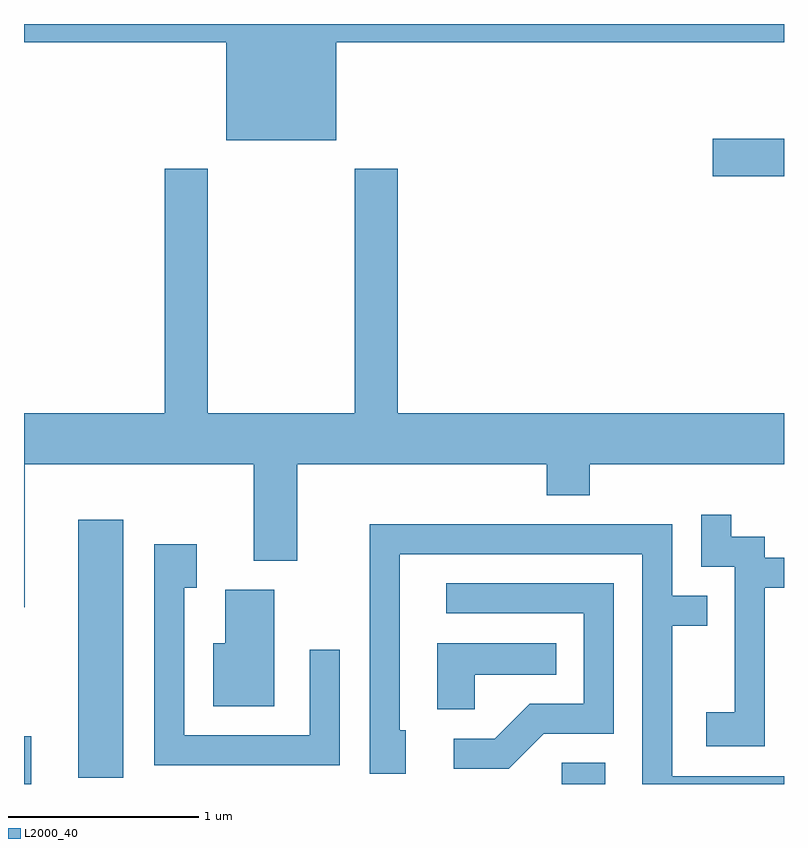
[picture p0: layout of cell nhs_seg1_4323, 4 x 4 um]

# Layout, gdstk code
import gdstk
lib = gdstk.Library(unit=1e-6, precision=1e-09)
def R(c, l, rs):  # rectangles x0, y0, x1, y1
    for r in rs: c.add(gdstk.rectangle(r[:2], r[2:], *l))
def P(c, l, *ps):  # polygons
    for p in ps: c.add(gdstk.Polygon(p, *l))
L2000_40 = (2000, 40)

nhs_seg1_4323 = lib.new_cell('nhs_seg1_4323')
R(nhs_seg1_4323, L2000_40, [(315.611,855.712,315.649,855.964), (318.441,855.712,318.669,855.824), (315.896,855.746,316.134,857.104), (319.236,858.911,319.611,859.109)])
P(nhs_seg1_4323, L2000_40, [(315.611,859.616),(316.676,859.616),(316.676,859.101),(317.254,859.101),(317.254,859.616),(319.611,859.616),(319.611,859.712),(315.611,859.712)],
  [(315.614,857.396),(316.821,857.396),(316.821,856.886),(317.049,856.886),(317.049,857.396),(318.361,857.396),(318.361,857.231),(318.589,857.231),(318.589,857.396),(319.611,857.396),(319.611,857.664),(317.579,857.664),(317.579,858.949),(317.351,858.949),(317.351,857.664),(316.579,857.664),(316.579,858.949),(316.351,858.949),(316.351,857.664),(315.611,857.664),(315.611,856.643),(315.614,856.643)],
  [(319.509,856.746),(319.611,856.746),(319.611,856.904),(319.509,856.904),(319.509,857.014),(319.334,857.014),(319.334,857.128),(319.176,857.128),(319.176,856.856),(319.351,856.856),(319.351,856.089),(319.201,856.089),(319.201,855.911),(319.509,855.911)],
  [(319.611,855.754),(319.024,855.754),(319.024,856.546),(319.208,856.546),(319.208,856.704),(319.024,856.704),(319.024,857.079),(317.431,857.079),(317.431,855.766),(317.619,855.766),(317.619,855.994),(317.589,855.994),(317.589,856.921),(318.866,856.921),(318.866,855.712),(319.611,855.712)],
  [(317.274,856.418),(317.116,856.418),(317.116,855.969),(316.454,855.969),(316.454,856.746),(316.519,856.746),(316.519,856.974),(316.296,856.974),(316.296,855.811),(317.274,855.811)],
  [(318.347,855.976),(318.714,855.976),(318.714,856.769),(317.833,856.769),(317.833,856.611),(318.556,856.611),(318.556,856.134),(318.274,856.134),(318.089,855.949),(317.873,855.949),(317.873,855.791),(318.162,855.791)],
  [(316.929,856.734),(316.671,856.734),(316.671,856.454),(316.606,856.454),(316.606,856.121),(316.929,856.121)],
  [(317.984,856.286),(318.413,856.286),(318.413,856.454),(317.786,856.454),(317.786,856.106),(317.984,856.106)])

lib.write_gds('nhs_seg1_4323.gds')
